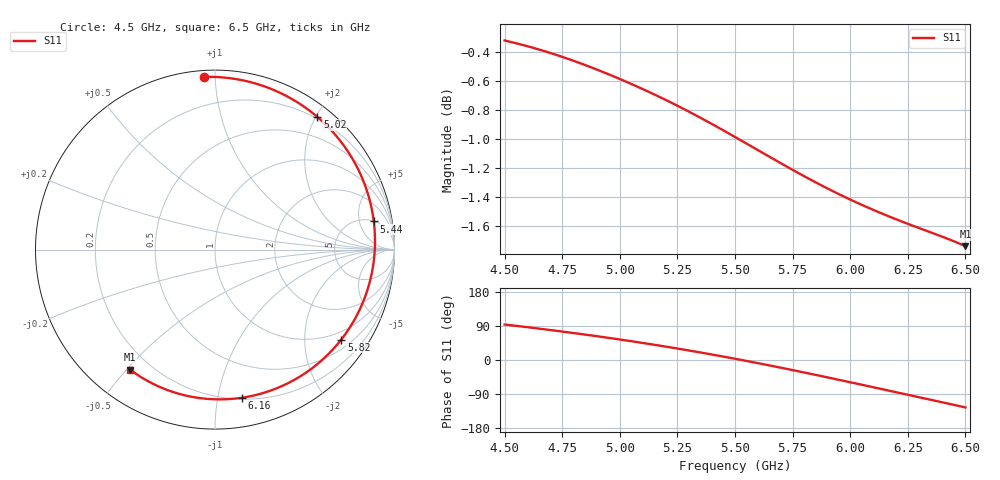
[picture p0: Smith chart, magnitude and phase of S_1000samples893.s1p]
! TOUCHSTONE file generated by CST MICROWAVE STUDIO
! Date and time: Sat Oct 29 17:33:16 2022
! Project name: L.cst
! Parameters = {Di=1.27; Epsilon_r=1.56; InnerDiameter=1.27; Length=2; Lf=10; Lg=60; OuterConductorThickness=0.2921; OuterDiameter=3.6; Wf=3; Wp=41.2; de=1.5; df=6.8; g=0.8; gx=4.63801; gy=3.09771; h=2.34; hf=1.524; px=9.76253; py=11.9794; w=9.7; wx=5.12452; wy=8.88165}
! Header version: 2018
! Port assignment regex: !\s*Touchstone port\s*([0-9]+)\s*=\s*(CST MWS port|CST DS port)\s*([0-9]+|Zmin|Zmax)\s*\(\"(.*)\"\)(\s*mode\s*([0-9]+))?.*
! Touchstone port assignment:
! Touchstone port 1 = CST MWS port 1 ("")
# GHz S DB R 50
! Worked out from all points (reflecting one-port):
!   101 points, 4.5 GHz to 6.5 GHz, reference 50 ohm
!   lowest |S11| = -1.7 dB at 6.5 GHz (marker M1), VSWR 10.04, Z = 6.31 - j25.6 ohm
!   phase of S11 starts at 94 deg and turns -219 deg over the sweep
!   S11 on the Smith chart (normalised r, x): 4.5 GHz: 0.03, +0.94; 5.02 GHz: 0.18, +2.02; 5.44 GHz: 5.08, +8.28; 5.82 GHz: 0.75, -2.96; 6.16 GHz: 0.21, -1.17; 6.5 GHz: 0.13, -0.51
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4.5  -0.32 93.6
4.58  -0.35 87.9
4.64  -0.38 83.5
4.76  -0.44 74.3
4.88  -0.51 64.5
5  -0.58 54.1
5.02  -0.60 52.3
5.08  -0.64 46.8
5.14  -0.68 41.1
5.26  -0.78 29.3
5.36  -0.86 18.8
5.44  -0.93 10.1
5.5  -0.98 3.3
5.58  -1.06 -6.0
5.64  -1.11 -13.1
5.7  -1.17 -20.5
5.76  -1.22 -27.9
5.82  -1.27 -35.5
5.92  -1.35 -48.3
6  -1.42 -58.7
6.08  -1.47 -69.2
6.16  -1.53 -79.8
6.22  -1.56 -87.8
6.26  -1.59 -93.1
6.32  -1.62 -101.1
6.38  -1.66 -109.1
6.44  -1.70 -117.1
6.5  -1.74 -125.2
